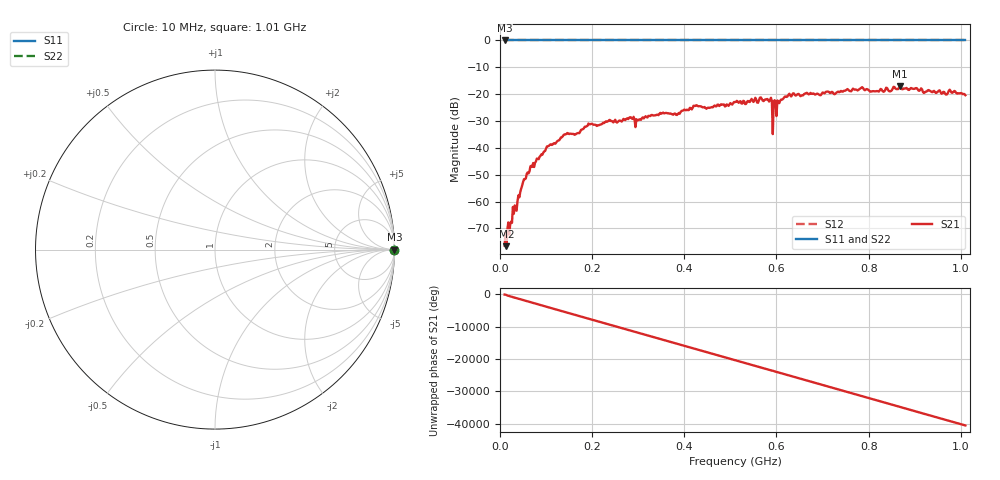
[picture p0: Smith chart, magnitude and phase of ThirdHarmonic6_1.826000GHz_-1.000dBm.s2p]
! 8/16/2025 10:07:28 PM
! C:\ANRITSUVNA\TEMP\TEMP.S2P
! CHANNEL.1
! TR.MEASUREMENT
! RAW.DATA
! RF.CORRECTION.OFF
! AVERAGING.OFF
! IF.BANDWIDTH: 5KHZ
! SWEEPTYPE:  FREQ.SWEEP(Linear)
! Reference Plane Port Info
! PORT:  PORT1  PORT2
! DISTANCE:  0  m  0  m
! TIME:  0  s  0  s
! PHASE.OFFSET:  0  deg.  0  deg.
! LOSS:  0  dB  0  dB
! REF.LOSS:  0  dB  0  dB
! REF.FREQ:  0  Hz  0  Hz
! Power Info
! POWER:  -20  dBm  -20  dBm
! EFF.POWER:  -20  dBm  -20  dBm
! SOURCE.ATTEN:  0  dB  0  dB
! TEST.ATTEN:  0  dB  0  dB
# GHZ S RI R 50.0
! FREQ.GHZ  S11RE  S11IM  S21RE  S21IM  S12RE  S12IM  S22RE  S22IM
!; PortSelection: Port_12
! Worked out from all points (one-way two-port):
!   501 points, 10 MHz to 1.01 GHz, reference 50 ohm
!   highest |S21| = -17.04 dB at 868 MHz (marker M1); lowest = -76.6 dB at 14 MHz (marker M2)
!   lowest |S11| = 0.0 dB at 10 MHz (marker M3)
!   |S11| at or under -10 dB: nowhere
!   |S22| runs from 0.0 to 0.0 dB; largest |S21 - S12| = 1.1
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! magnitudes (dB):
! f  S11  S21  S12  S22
! 10 MHz  0.0  -76.5  0.0  0.0
! 14 MHz  0.0  -76.6  0.0  0.0
! 50 MHz  0.0  -52.8  0.0  0.0
! 68 MHz  0.0  -46.7  0.0  0.0
! 106 MHz  0.0  -39.3  0.0  0.0
! 142 MHz  0.0  -35.0  0.0  0.0
! 178 MHz  0.0  -33.2  0.0  0.0
! 196 MHz  0.0  -31.2  0.0  0.0
! 286 MHz  0.0  -29.0  0.0  0.0
! 298 MHz  0.0  -29.7  0.0  0.0
! 344 MHz  0.0  -27.8  0.0  0.0
! 510 MHz  0.0  -23.0  0.0  0.0
! 584 MHz  0.0  -22.8  0.0  0.0
! 588 MHz  0.0  -21.3  0.0  0.0
! 596 MHz  0.0  -22.3  0.0  0.0
! 598 MHz  0.0  -22.7  0.0  0.0
! 624 MHz  0.0  -20.9  0.0  0.0
! 678 MHz  0.0  -19.9  0.0  0.0
! 784 MHz  0.0  -17.6  0.0  0.0
! 844 MHz  0.0  -18.9  0.0  0.0
! 868 MHz  0.0  -17.0  0.0  0.0
! 1.01 GHz  0.0  -20.4  0.0  0.0
